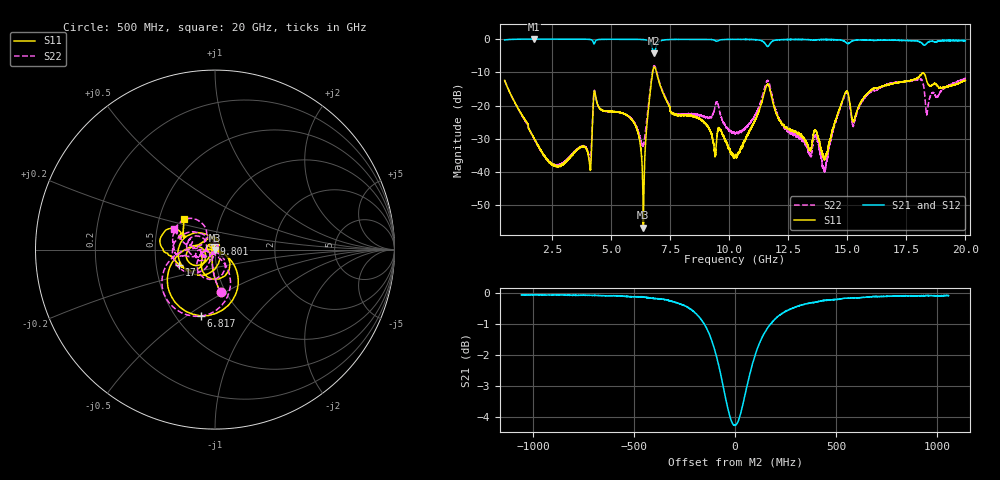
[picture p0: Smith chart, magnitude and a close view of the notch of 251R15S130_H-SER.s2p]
!{251R15S130}
!Johanson Technology Inc.
!www.johansontechnology.com
!Test Board Conditions:
!Substrate Type  RO4350B
!Substrate Thickness  20 mil
!Substrate Dk  3.66
!TL Type: GCPW
!TL Trace Width  34 mil
!TL Gap  10 mil
!Electrode orientation  Horizontal
!DUT TOPOLOGY	SERIES
!Mounting Pad LxW  26x52 mil
! Created Thu Mar 12 16:49:54 2020
# mhz S ma R 50
! 2 Port Network Data from SP1.SP block
! freq  magS11  angS11  magS21  angS21  magS12  angS12  magS22  angS22
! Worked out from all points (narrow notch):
!   19501 points, 500 MHz to 20 GHz, reference 50 ohm
!   highest |S21| = 0.00 dB at 1.758 GHz (marker M1); lowest = -4.3 dB at 6.82 GHz (marker M2)
!   notch at M2: 4.1 dB deep, 176 MHz wide at half that depth
!   lowest |S11| = -56.7 dB at 6.372 GHz (marker M3), VSWR 1.00, Z = 50 - j0.139 ohm
!   |S11| at or under -10 dB: start of sweep to 6.764 GHz; 6.926 GHz to end of sweep
!   |S22| runs from -40.0 to -8.0 dB; largest |S21 - S12| = 0.02
!   S11 on the Smith chart (normalised r, x): 500 MHz: 0.95, -0.48; 6.817 GHz: 0.66, -0.57; 9.801 GHz: 0.99, +0.06; 17 GHz: 0.66, -0.12; 20 GHz: 0.67, +0.24
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500  0.2388 -82.5  0.9689 7.3  0.9698 7.3  0.2386 -82.6
1758  0.03143 -119.4  0.9994 -21.9  0.9983 -21.9  0.03117 -104.6
3750  0.02371 -137.1  0.9957 -54.4  0.9953 -54.4  0.02396 -142.4
4102  0.01296 -110.0  0.9886 -61.2  0.9888 -61.3  0.01535 -114.9
4350  0.1388 -120.0  0.94 -58.5  0.9397 -58.5  0.1404 -136.1
5952  0.05688 -176.9  0.9904 -88.3  0.9913 -88.3  0.05812 -172.3
6372  0.001462 -107.3  0.9833 -97.3  0.9819 -97.3  0.02563 -105.9
6817  0.3769 -102.2  0.6106 -100.5  0.6112 -100.3  0.395 -112.1
6820  0.3782 -103.7  0.6104 -99.5  0.611 -99.4  0.3961 -113.5
7000  0.2523 -162.5  0.8921 -90.9  0.8932 -90.7  0.2599 -166.3
7625  0.07494 139.6  0.9868 -107.9  0.9879 -107.9  0.0784 -170.7
9801  0.03238 99.0  0.9849 -142.3  0.985 -142.4  0.05321 -177.0
10250  0.01724 25.8  0.9891 -150.3  0.9895 -150.2  0.03772 -151.2
11626  0.2077 -162.4  0.7726 -171.4  0.774 -171.3  0.2367 -169.9
13500  0.02506 151.0  0.9689 160.0  0.9693 160.1  0.01968 90.3
14039  0.01601 169.0  0.9837 152.2  0.9866 152.1  0.01037 -46.4
14921  0.1555 -149.1  0.9045 134.5  0.9046 134.4  0.1509 -178.5
15274  0.05848 -154.9  0.9503 136.0  0.9551 135.9  0.05082 175.5
16750  0.2087 -152.1  0.9645 108.7  0.9576 108.3  0.2117 -171.1
17003  0.2179 -157.1  0.9615 104.2  0.9548 104.2  0.2206 -174.3
18390  0.2206 152.4  0.8805 87.0  0.8772 86.7  0.0805 161.6
20000  0.2405 135.1  0.947 54.2  0.9457 54.4  0.2556 153.7
